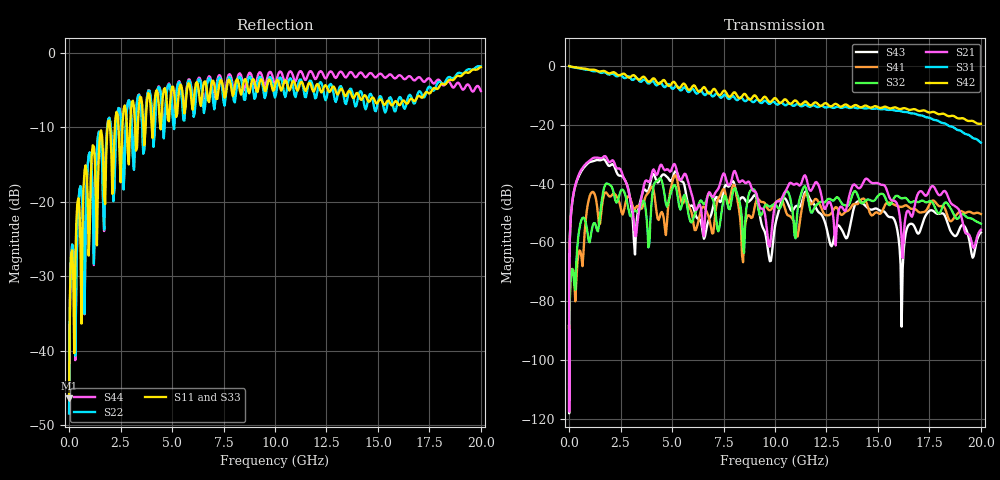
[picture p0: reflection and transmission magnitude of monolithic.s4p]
! 完整通道 S 參數——由 PCB SI 3D 模擬分析工具（功能3 電路串接）產生
! Port[1] = U14.23.ST_CTL
! Port[2] = U14.59.ST_ERROR
! Port[3] = U22.8.ST_CTL
! Port[4] = U22.12.ST_ERROR
! Touchstone file exported from Ansys Full-Wave Spice
! Project: segment_1
!  Design: unknown
! Creation time: Mon Aug 17 19:14:55 2026
! Notes: Touchstone(R) file created by SIwave 2026 R1
!  : Touchstone(R) file created on Mon Aug 17 19:14:55 2026
!  : Design: siwave_board0
!  : Path:
!  : *** SIwave SYZ Simulation Settings ***
!  : SI/PI Main
!  :  SI Simulation -  Balanced
!  : SI/PI Advanced
!  :  Coupling
!  :  Coplane: On
!  :  Intra-plane: Off
!  :  Split-plane: On
!  :  Cavity field: On
!  :  Trace: On
!  :  Cross-talk threshold: -34dB
!  :  Max. coupled lines: 12
!  :  Geometry Processing
!  :  Void area threshold: 2mm^2
!  :  Pad area threshold: 1mm^2
!  :  Planes area threshold: 6.25E-06mm^2
!  :  Vertex snap distance threshold: 0.0025mm
!  :  Mesh Refinement
!  :  Auto
!  :  AC/DC Merge
!  :  Default
!  :  Trace return current distribution: Off
!  :  Include voltage/current source parasitics: No
!  :  Add infinite ground plane: No
!  :  Exclude non-functional pads: Yes
!  : Temperature
!  :  Uniform distribution: 20cel
!  : Net Processing
!  :  Auto select nets
!  : S-parameter Modeling
!  :  State Space Model
!  : Sweep
!  :  Name: segment_1_SYZ
!  :  AC/DC Merge: Off
!  :  Interpolating Sweep
!  :  Relative error for S: 0.001
!  :  Frequency Point Distribution:
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# Hz S MA R 50.0
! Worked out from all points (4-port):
!   559 points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, 1 Hz to 20 GHz, reference 50 ohm
!   strongest paths, dB at 1 Hz, 8.913 MHz, 6.05 GHz, 13.05 GHz, 20 GHz:
!     S42: 0.0, -0.1, -6.5, -13.3, -19.6
!     S31: 0.0, -0.1, -8.0, -13.8, -26.0
!     S21: -88.4, -70.5, -46.4, -50.6, -55.7
!     S32: -88.4, -85.1, -51.5, -44.7, -53.6
!     S41: -88.4, -85.1, -54.0, -48.6, -50.3
!     S43: -88.4, -70.5, -48.4, -54.1, -56.6
!   lowest |S11| = -46.4 dB at 1 Hz (marker M1), VSWR 1.01, Z = 50.5 + j1.82e-08 ohm
!   |S11| at or under -10 dB: start of sweep to 1.87 GHz; 1.987 GHz to 2.225 GHz (238.3 MHz wide, 11.3 % of centre); 2.402 GHz to 2.59 GHz (188.4 MHz wide, 7.55 % of centre)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
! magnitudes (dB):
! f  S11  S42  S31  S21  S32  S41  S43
! 1 Hz  -46.4  0.0  0.0  -88.4  -88.4  -88.4  -88.4
! 250 MHz  -40.3  -0.4  -0.5  -42.0  -74.5  -72.5  -42.3
! 1.25 GHz  -14.4  -1.3  -1.7  -31.1  -53.5  -43.7  -32.1
! 3.2 GHz  -9.5  -3.4  -4.2  -57.7  -49.2  -48.7  -64.1
! 5.1 GHz  -5.3  -5.4  -7.4  -33.3  -40.5  -37.5  -36.5
! 9.75 GHz  -3.6  -12.2  -12.9  -61.4  -47.8  -49.1  -66.4
! 20 GHz  -1.9  -19.6  -26.0  -55.7  -53.6  -50.3  -56.6
